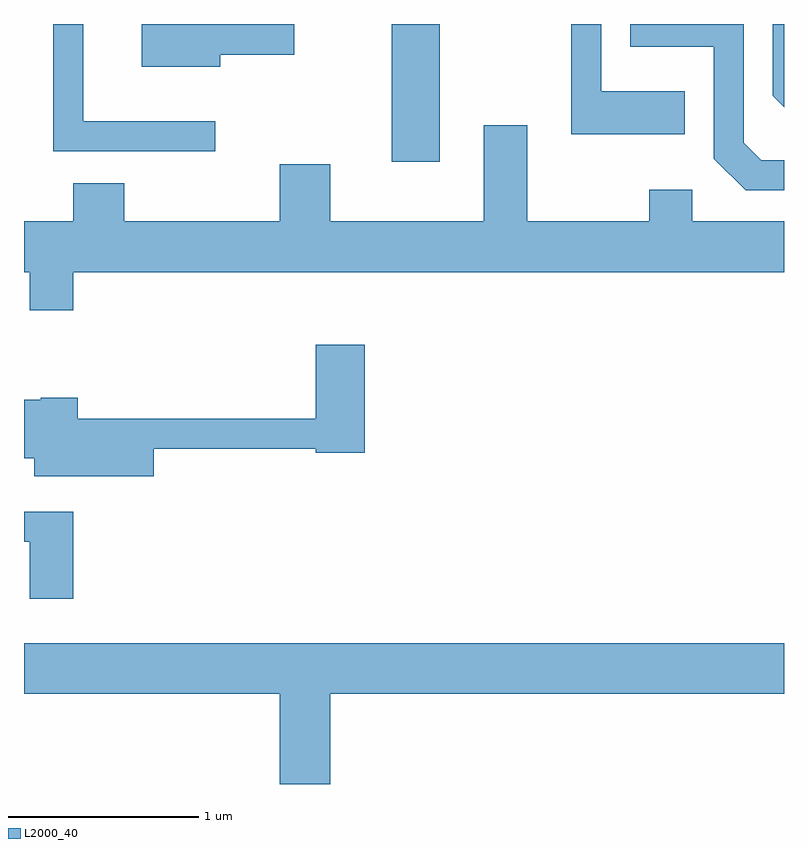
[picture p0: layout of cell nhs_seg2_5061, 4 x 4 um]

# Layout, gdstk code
import gdstk
lib = gdstk.Library(unit=1e-6, precision=1e-09)
def R(c, l, rs):  # rectangles x0, y0, x1, y1
    for r in rs: c.add(gdstk.rectangle(r[:2], r[2:], *l))
def P(c, l, *ps):  # polygons
    for p in ps: c.add(gdstk.Polygon(p, *l))
L2000_40 = (2000, 40)

nhs_seg2_5061 = lib.new_cell('nhs_seg2_5061')
R(nhs_seg2_5061, L2000_40, [(335.546,1091.076,335.799,1091.802)])
P(nhs_seg2_5061, L2000_40, [(334.618,1091.289),(333.924,1091.289),(333.924,1091.802),(333.766,1091.802),(333.766,1091.131),(334.618,1091.131)],
  [(337.611,1091.084),(337.492,1091.084),(337.399,1091.177),(337.399,1091.802),(336.801,1091.802),(336.801,1091.681),(337.241,1091.681),(337.241,1091.094),(337.409,1090.926),(337.611,1090.926)],
  [(337.611,1091.802),(337.551,1091.802),(337.551,1091.424),(337.611,1091.364)],
  [(337.089,1091.449),(336.649,1091.449),(336.649,1091.802),(336.491,1091.802),(336.491,1091.221),(337.089,1091.221)],
  [(334.644,1091.641),(335.034,1091.641),(335.034,1091.802),(334.231,1091.802),(334.231,1091.576),(334.644,1091.576)],
  [(333.869,1090.496),(337.611,1090.496),(337.611,1090.764),(337.129,1090.764),(337.129,1090.929),(336.901,1090.929),(336.901,1090.764),(336.259,1090.764),(336.259,1091.269),(336.031,1091.269),(336.031,1090.764),(335.224,1090.764),(335.224,1091.064),(334.956,1091.064),(334.956,1090.764),(334.139,1090.764),(334.139,1090.964),(333.871,1090.964),(333.871,1090.764),(333.611,1090.764),(333.611,1090.496),(333.641,1090.496),(333.641,1090.296),(333.869,1090.296)],
  [(334.294,1089.566),(335.146,1089.566),(335.146,1089.546),(335.404,1089.546),(335.404,1090.114),(335.146,1090.114),(335.146,1089.724),(333.894,1089.724),(333.894,1089.834),(333.7,1089.834),(333.7,1089.824),(333.611,1089.824),(333.611,1089.516),(333.666,1089.516),(333.666,1089.421),(334.294,1089.421)],
  [(333.869,1089.234),(333.611,1089.234),(333.611,1089.076),(333.641,1089.076),(333.641,1088.776),(333.869,1088.776)],
  [(335.224,1088.276),(337.611,1088.276),(337.611,1088.544),(333.611,1088.544),(333.611,1088.276),(334.956,1088.276),(334.956,1087.802),(335.224,1087.802)])

lib.write_gds('nhs_seg2_5061.gds')
